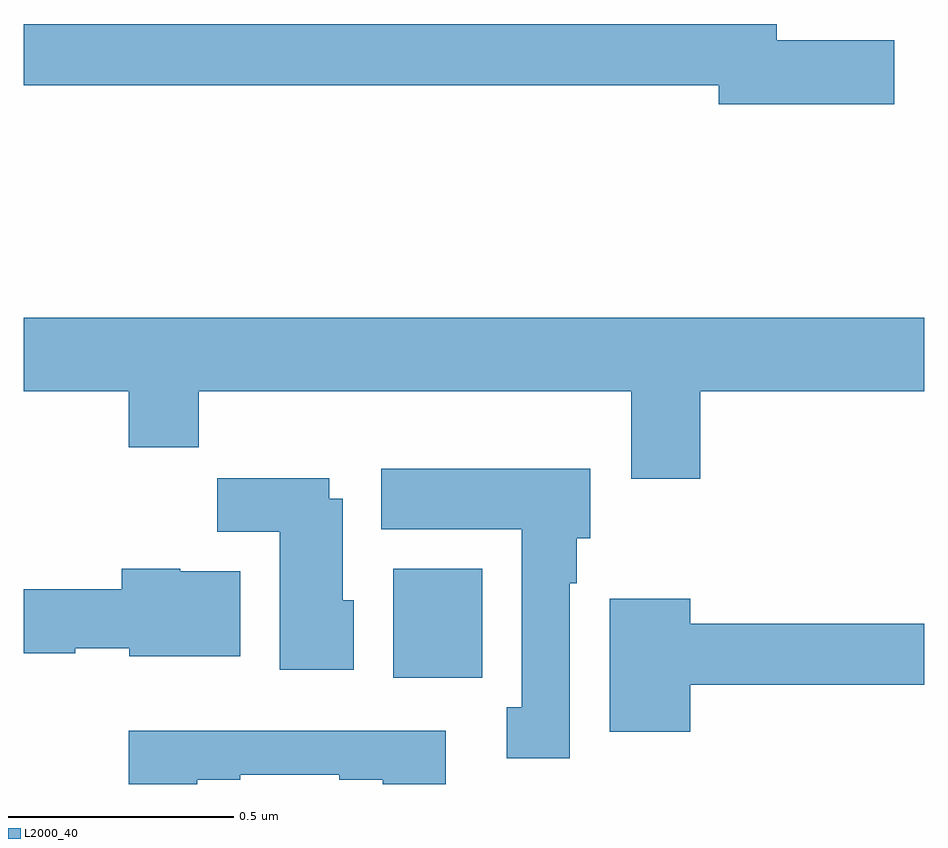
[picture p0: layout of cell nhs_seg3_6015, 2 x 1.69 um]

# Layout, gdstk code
import gdstk
lib = gdstk.Library(unit=1e-6, precision=1e-09)
def R(c, l, rs):  # rectangles x0, y0, x1, y1
    for r in rs: c.add(gdstk.rectangle(r[:2], r[2:], *l))
def P(c, l, *ps):  # polygons
    for p in ps: c.add(gdstk.Polygon(p, *l))
L2000_40 = (2000, 40)

nhs_seg3_6015 = lib.new_cell('nhs_seg3_6015')
R(nhs_seg3_6015, L2000_40, [(186.821,677.636,187.018,677.878)])
P(nhs_seg3_6015, L2000_40, [(187.933,679.052),(187.672,679.052),(187.672,679.088),(186,679.088),(186,678.952),(187.544,678.952),(187.544,678.91),(187.933,678.91)],
  [(187.502,678.272),(188,678.272),(188,678.436),(186,678.436),(186,678.272),(186.233,678.272),(186.233,678.148),(186.389,678.148),(186.389,678.272),(187.349,678.272),(187.349,678.078),(187.502,678.078)],
  [(187.213,677.846),(187.228,677.846),(187.228,677.946),(187.258,677.946),(187.258,678.1),(186.794,678.1),(186.794,677.966),(187.106,677.966),(187.106,677.57),(187.073,677.57),(187.073,677.457),(187.213,677.457)],
  [(186.733,677.808),(186.709,677.808),(186.709,678.034),(186.679,678.034),(186.679,678.079),(186.43,678.079),(186.43,677.96),(186.569,677.96),(186.569,677.654),(186.733,677.654)],
  [(186.481,677.872),(186.348,677.872),(186.348,677.878),(186.218,677.878),(186.218,677.832),(186,677.832),(186,677.69),(186.114,677.69),(186.114,677.702),(186.234,677.702),(186.234,677.684),(186.481,677.684)],
  [(187.48,677.62),(188,677.62),(188,677.756),(187.48,677.756),(187.48,677.812),(187.301,677.812),(187.301,677.516),(187.48,677.516)],
  [(186.385,677.409),(186.481,677.409),(186.481,677.421),(186.701,677.421),(186.701,677.409),(186.797,677.409),(186.797,677.4),(186.937,677.4),(186.937,677.518),(186.233,677.518),(186.233,677.4),(186.385,677.4)])

lib.write_gds('nhs_seg3_6015.gds')
